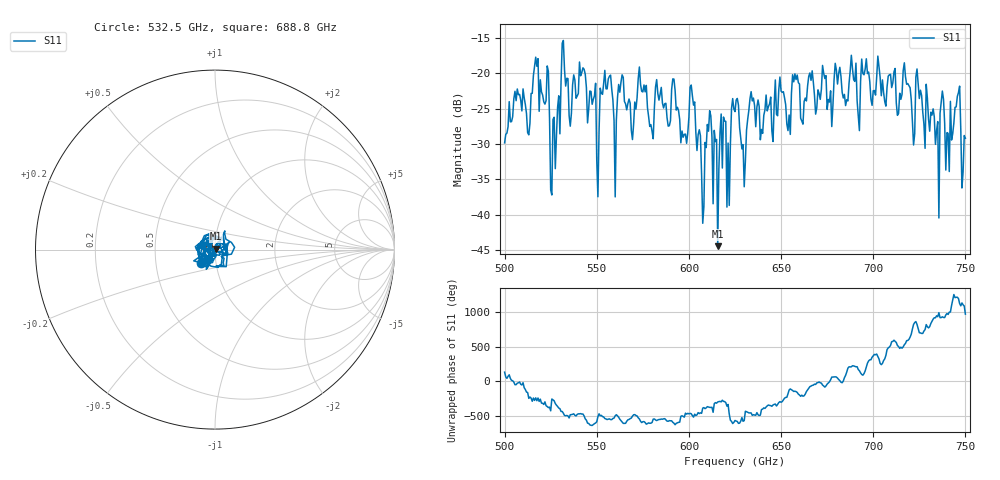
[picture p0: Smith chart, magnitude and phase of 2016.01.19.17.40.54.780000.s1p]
!Created with skrf (http://scikit-rf.org).
# GHz S RI R 50.0
!freq ReS11 ImS11
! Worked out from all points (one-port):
!   401 points, 500 GHz to 750 GHz, reference 50 ohm
!   lowest |S11| = -44.4 dB at 615.6 GHz (marker M1), VSWR 1.01, Z = 50.3 + j0.514 ohm
!   |S11| at or under -10 dB: start of sweep to end of sweep
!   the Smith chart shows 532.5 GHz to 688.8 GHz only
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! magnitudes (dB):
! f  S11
! 500 GHz  -29.8
! 506.2 GHz  -23.9
! 513.1 GHz  -28.7
! 516.9 GHz  -17.7
! 523.1 GHz  -19.0
! 526.2 GHz  -26.5
! 531.2 GHz  -15.7
! 541.9 GHz  -19.9
! 550 GHz  -32.3
! 553.1 GHz  -23.0
! 560 GHz  -37.5
! 562.5 GHz  -22.7
! 593.8 GHz  -24.8
! 601.9 GHz  -23.2
! 606.9 GHz  -34.3
! 611.2 GHz  -25.3
! 615.6 GHz  -44.4
! 618.8 GHz  -26.2
! 621.9 GHz  -38.7
! 625 GHz  -25.4
! 629.4 GHz  -30.1
! 633.8 GHz  -22.6
! 656.2 GHz  -20.2
! 687.5 GHz  -19.7
! 718.8 GHz  -21.5
! 734.4 GHz  -28.1
! 745.6 GHz  -23.3
! 750 GHz  -29.2
